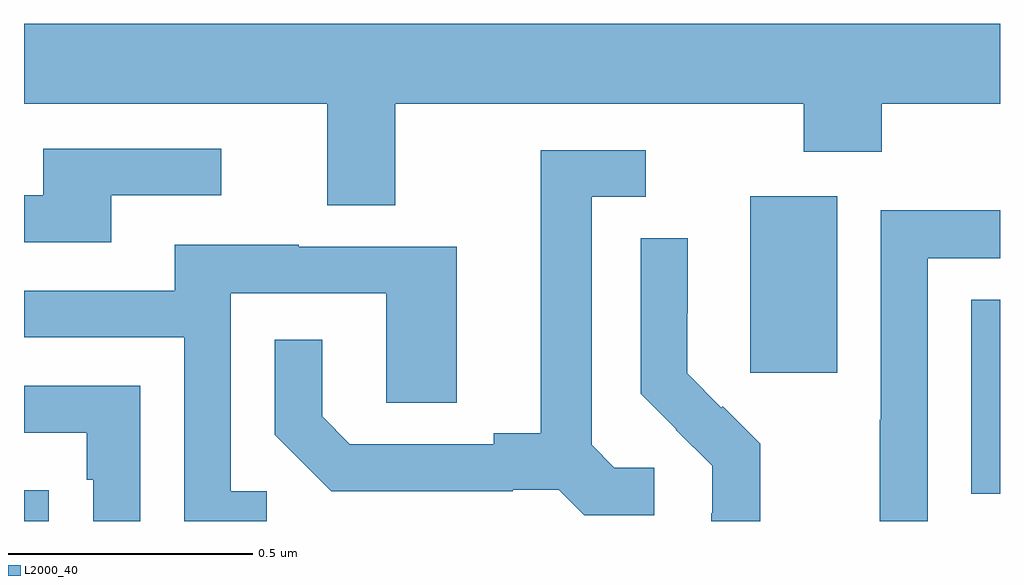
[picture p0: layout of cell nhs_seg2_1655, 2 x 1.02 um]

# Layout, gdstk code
import gdstk
lib = gdstk.Library(unit=1e-6, precision=1e-09)
def R(c, l, rs):  # rectangles x0, y0, x1, y1
    for r in rs: c.add(gdstk.rectangle(r[:2], r[2:], *l))
def P(c, l, *ps):  # polygons
    for p in ps: c.add(gdstk.Polygon(p, *l))
L2000_40 = (2000, 40)

nhs_seg2_1655 = lib.new_cell('nhs_seg2_1655')
R(nhs_seg2_1655, L2000_40, [(131,626.8,131.051,626.864), (132.941,626.857,133,627.254), (132.488,627.105,132.667,627.466)])
P(nhs_seg2_1655, L2000_40, [(131.761,627.656),(132.598,627.656),(132.598,627.557),(132.758,627.557),(132.758,627.656),(133,627.656),(133,627.82),(131,627.82),(131,627.656),(131.621,627.656),(131.621,627.448),(131.761,627.448)],
  [(131.179,627.468),(131.404,627.468),(131.404,627.564),(131.039,627.564),(131.039,627.468),(131,627.468),(131,627.372),(131.179,627.372)],
  [(132.292,626.91),(132.21,626.91),(132.163,626.957),(132.163,627.465),(132.274,627.465),(132.274,627.561),(132.059,627.561),(132.059,626.981),(131.963,626.981),(131.963,626.958),(131.668,626.958),(131.611,627.015),(131.611,627.172),(131.514,627.172),(131.514,626.978),(131.63,626.862),(132.002,626.862),(132.002,626.865),(132.096,626.865),(132.148,626.813),(132.292,626.813)],
  [(132.852,627.339),(133,627.339),(133,627.438),(132.756,627.438),(132.756,627.008),(132.754,627.008),(132.754,626.8),(132.852,626.8)],
  [(132.509,626.959),(132.432,627.036),(132.429,627.033),(132.359,627.104),(132.359,627.226),(132.36,627.226),(132.36,627.38),(132.264,627.38),(132.264,627.062),(132.337,626.989),(132.336,626.988),(132.41,626.914),(132.41,626.817),(132.408,626.817),(132.408,626.8),(132.509,626.8)],
  [(131.497,626.862),(131.424,626.862),(131.424,627.267),(131.742,627.267),(131.742,627.043),(131.887,627.043),(131.887,627.363),(131.563,627.363),(131.563,627.367),(131.309,627.367),(131.309,627.273),(131,627.273),(131,627.177),(131.328,627.177),(131.328,626.8),(131.497,626.8)],
  [(131.238,627.078),(131,627.078),(131,626.982),(131.129,626.982),(131.129,626.885),(131.142,626.885),(131.142,626.8),(131.238,626.8)])

lib.write_gds('nhs_seg2_1655.gds')
